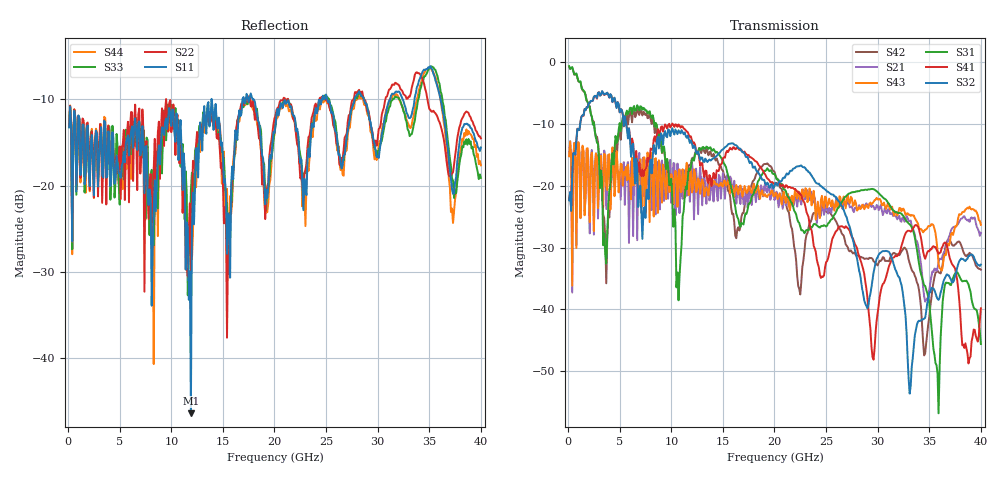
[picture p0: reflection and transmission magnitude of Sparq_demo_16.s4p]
# MHz MA S R 50.0
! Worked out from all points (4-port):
!   400 points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, 100 MHz to 40 GHz, reference 50 ohm
!   strongest paths, dB at 100 MHz, 10.1 GHz, 20.1 GHz, 30.1 GHz, 40 GHz:
!     S32: -22.3, -10.7, -19.5, -31.1, -32.7
!     S41: -22.3, -9.9, -19.6, -39.3, -39.8
!     S31: -0.6, -22.1, -18.4, -21.2, -45.6
!     S43: -15.2, -18.6, -21.1, -22.2, -26.3
!     S21: -15.1, -21.4, -21.8, -23.9, -27.6
!     S42: -0.6, -20.7, -18.3, -32.4, -33.5
!   lowest |S11| = -46.5 dB at 11.9 GHz (marker M1), VSWR 1.01, Z = 49.8 - j0.419 ohm
!   |S11| at or under -10 dB: start of sweep to 13.9 GHz; 18 GHz to 24.59 GHz (6.589 GHz wide, 30.9 % of centre); 36.09 GHz to end of sweep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
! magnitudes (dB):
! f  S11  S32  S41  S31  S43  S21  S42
! 100 MHz  -13.3  -22.3  -22.3  -0.6  -15.2  -15.1  -0.6
! 3.7 GHz  -19.1  -5.1  -5.1  -32.6  -19.9  -23.7  -35.8
! 10.9 GHz  -12.4  -11.5  -10.5  -31.8  -21.0  -18.0  -20.5
! 11.9 GHz  -46.5  -12.6  -12.0  -17.0  -17.5  -18.7  -16.4
! 13.9 GHz  -9.9  -15.8  -20.0  -14.2  -19.9  -18.8  -15.2
! 15.4 GHz  -27.9  -13.5  -14.3  -17.6  -19.6  -18.2  -19.5
! 40 GHz  -15.6  -32.7  -39.8  -45.6  -26.3  -27.6  -33.5
